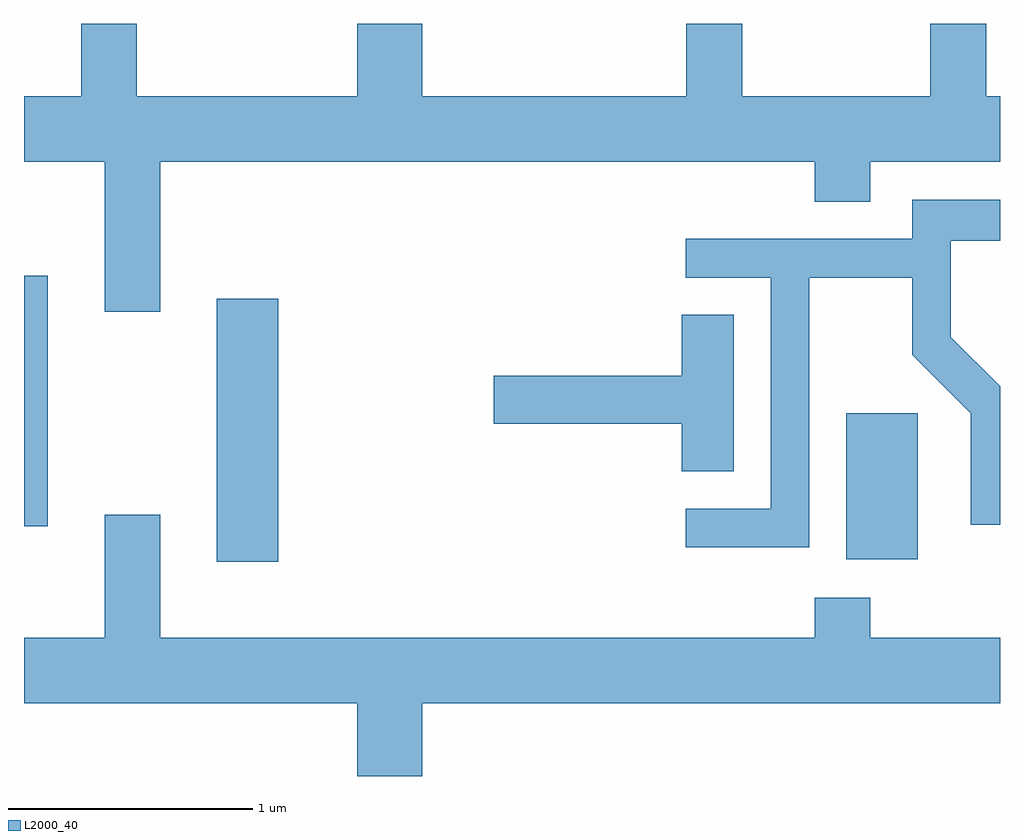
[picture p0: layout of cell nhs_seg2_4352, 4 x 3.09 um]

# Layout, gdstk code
import gdstk
lib = gdstk.Library(unit=1e-6, precision=1e-09)
def R(c, l, rs):  # rectangles x0, y0, x1, y1
    for r in rs: c.add(gdstk.rectangle(r[:2], r[2:], *l))
def P(c, l, *ps):  # polygons
    for p in ps: c.add(gdstk.Polygon(p, *l))
L2000_40 = (2000, 40)

nhs_seg2_4352 = lib.new_cell('nhs_seg2_4352')
R(nhs_seg2_4352, L2000_40, [(314.401,1015.596,314.654,1016.674), (316.981,1015.606,317.274,1016.204), (313.611,1015.741,313.709,1016.769)])
P(nhs_seg2_4352, L2000_40, [(314.169,1017.236),(316.851,1017.236),(316.851,1017.071),(317.079,1017.071),(317.079,1017.236),(317.611,1017.236),(317.611,1017.504),(317.554,1017.504),(317.554,1017.802),(317.326,1017.802),(317.326,1017.504),(316.554,1017.504),(316.554,1017.802),(316.326,1017.802),(316.326,1017.504),(315.244,1017.504),(315.244,1017.802),(314.976,1017.802),(314.976,1017.504),(314.074,1017.504),(314.074,1017.802),(313.846,1017.802),(313.846,1017.504),(313.611,1017.504),(313.611,1017.236),(313.941,1017.236),(313.941,1016.621),(314.169,1016.621)],
  [(316.829,1016.761),(317.251,1016.761),(317.251,1016.444),(317.491,1016.204),(317.491,1015.748),(317.611,1015.748),(317.611,1016.315),(317.409,1016.517),(317.409,1016.911),(317.611,1016.911),(317.611,1017.079),(317.251,1017.079),(317.251,1016.919),(316.323,1016.919),(316.323,1016.761),(316.671,1016.761),(316.671,1015.814),(316.323,1015.814),(316.323,1015.656),(316.829,1015.656)],
  [(316.519,1016.609),(316.306,1016.609),(316.306,1016.359),(315.536,1016.359),(315.536,1016.161),(316.306,1016.161),(316.306,1015.966),(316.519,1015.966)],
  [(315.244,1015.016),(317.611,1015.016),(317.611,1015.284),(317.079,1015.284),(317.079,1015.449),(316.851,1015.449),(316.851,1015.284),(314.169,1015.284),(314.169,1015.789),(313.941,1015.789),(313.941,1015.284),(313.611,1015.284),(313.611,1015.016),(314.976,1015.016),(314.976,1014.716),(315.244,1014.716)])

lib.write_gds('nhs_seg2_4352.gds')
